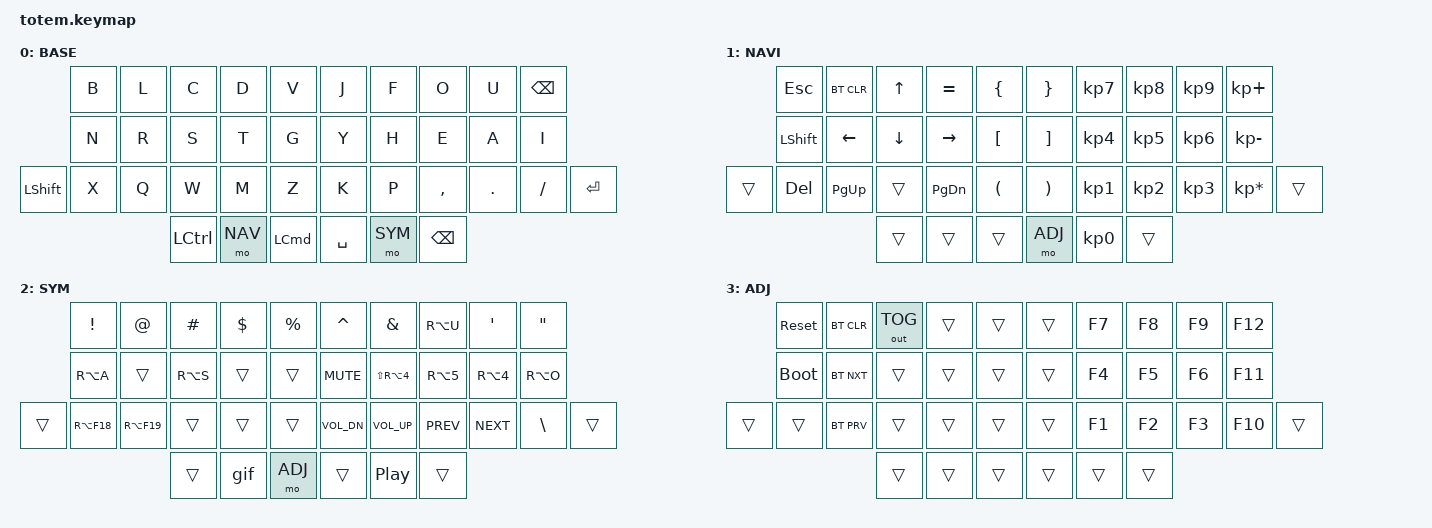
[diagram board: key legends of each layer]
#include <behaviors.dtsi>
#include <dt-bindings/zmk/keys.h>
#include <dt-bindings/zmk/bt.h>
#include <dt-bindings/zmk/outputs.h>

#define BASE 0
#define NAV  1
#define SYM  2
#define ADJ  3

&mt {
  quick-tap-ms = <100>;
  global-quick-tap;
  flavor = "tap-preferred";
  tapping-term-ms = <170>;
};

/ {
    combos {
            compatible = "zmk,combos";
            combo_esc {
                timeout-ms = <50>;
                key-positions = <0 1>;
                bindings = <&kp ESC>;
            };
    };

    macros {
        gif: gif {
            label = "giphy";
            compatible = "zmk,behavior-macro";
            #binding-cells = <0>;
            bindings
                = <&macro_press &kp LSHFT>
                , <&macro_tap &kp N2>
                , <&macro_release &kp LSHFT>
                , <&macro_tap &kp G &kp I &kp F>
                ;
        };
    };

        keymap {
                compatible = "zmk,keymap";
// ▄▄▄▄▄▄▄▄▄▄▄▄▄▄▄▄▄▄▄▄▄▄▄▄▄▄▄▄▄▄▄▄▄▄▄▄▄▄▄▄▄▄▄▄▄▄▄▄▄▄▄▄▄▄▄▄▄▄▄▄▄▄▄▄▄▄▄▄▄▄▄▄▄▄▄▄▄▄▄▄▄▄▄▄▄▄▄▄▄▄▄▄▄▄▄▄▄▄▄▄▄▄▄▄▄▄▄▄▄▄▄▄▄▄▄▄▄▄▄▄▄▄▄▄▄▄▄▄▄▄▄▄▄▄▄▄▄▄▄▄▄▄▄▄▄▄▄▄▄


                base_layer {
// ┏━━━━━━━━━━━━━━━━━━━━━━━━━━━━━━━━━━━━━━━┓
label= "BASE"                              ;
// ┗━━━━━━━━━━━━━━━━━━━━━━━━━━━━━━━━━━━━━━━┛
//             ┏━━━━━━━━━━━┳━━━━━━━━━━━┳━━━━━━━━━━━┳━━━━━━━━━━━┳━━━━━━━━━━━┓   ┏━━━━━━━━━━━┳━━━━━━━━━━━┳━━━━━━━━━━━┳━━━━━━━━━━━┳━━━━━━━━━━━┓
//             ┃     B     ┃     L     ┃     C     ┃     D     ┃     V     ┃   ┃     J     ┃     F     ┃     O     ┃     U     ┃    BSPC   ┃
//             ┣━━━━━━━━━━━╋━━━━━━━━━━━╋━━━━━━━━━━━╋━━━━━━━━━━━╋━━━━━━━━━━━┫   ┣━━━━━━━━━━━╋━━━━━━━━━━━╋━━━━━━━━━━━╋━━━━━━━━━━━╋━━━━━━━━━━━┫
//             ┃     N     ┃     R     ┃     S     ┃     T     ┃     G     ┃   ┃     Y     ┃     H     ┃     E     ┃     A     ┃     I     ┃
// ┏━━━━━━━━━━━╋━━━━━━━━━━━╋━━━━━━━━━━━╋━━━━━━━━━━━╋━━━━━━━━━━━╋━━━━━━━━━━━┫   ┣━━━━━━━━━━━╋━━━━━━━━━━━╋━━━━━━━━━━━╋━━━━━━━━━━━╋━━━━━━━━━━━╋━━━━━━━━━━━┓
// ┃   SHIFT   ┃     X     ┃     Q     ┃     W     ┃     M     ┃     Z     ┃   ┃     K     ┃     P     ┃     ,     ┃     .     ┃     /     ┃    RET    ┃
// ┗━━━━━━━━━━━┻━━━━━━━━━━━┻━━━━━━━━━━━╋━━━━━━━━━━━╋━━━━━━━━━━━╋━━━━━━━━━━━┫   ┣━━━━━━━━━━━╋━━━━━━━━━━━╋━━━━━━━━━━━╋━━━━━━━━━━━┻━━━━━━━━━━━┻━━━━━━━━━━━┛
//                                     ┃    CTRL   ┃    NAV    ┃    CMD    ┃   ┃   SPACE   ┃    SYM    ┃   BSPC    ┃
//                                     ┗━━━━━━━━━━━┻━━━━━━━━━━━┻━━━━━━━━━━━┛   ┗━━━━━━━━━━━┻━━━━━━━━━━━┻━━━━━━━━━━━┛
 bindings = <
// ╷           ╷           ╷           ╷           ╷           ╷           ╷   ╷           ╷           ╷           ╷           ╷           ╷           ╷

                &kp B       &kp L       &kp C       &kp D       &kp V           &kp J       &kp F       &kp O       &kp U       &kp BSPC
                &kp N       &kp R       &kp S       &kp T       &kp G           &kp Y       &kp H       &kp E       &kp A       &kp I 
    &kp LSHFT   &kp X       &kp Q       &kp W       &kp M       &kp Z           &kp K       &kp P       &kp COMMA   &kp DOT     &kp FSLH     &kp RET
                                        &kp LCTRL   &mo NAV     &kp LCMD      &kp SPACE     &mo SYM     &kp BSPC
                        >;
                };

// ▄▄▄▄▄▄▄▄▄▄▄▄▄▄▄▄▄▄▄▄▄▄▄▄▄▄▄▄▄▄▄▄▄▄▄▄▄▄▄▄▄▄▄▄▄▄▄▄▄▄▄▄▄▄▄▄▄▄▄▄▄▄▄▄▄▄▄▄▄▄▄▄▄▄▄▄▄▄▄▄▄▄▄▄▄▄▄▄▄▄▄▄▄▄▄▄▄▄▄▄▄▄▄▄▄▄▄▄▄▄▄▄▄▄▄▄▄▄▄▄▄▄▄▄▄▄▄▄▄▄▄▄▄▄▄▄▄▄▄▄▄▄▄▄▄▄▄▄▄


                nav_layer {
// ┏━━━━━━━━━━━━━━━━━━━━━━━━━━━━━━━━━━━━━━━┓
label= "NAVI"                              ;
// ┗━━━━━━━━━━━━━━━━━━━━━━━━━━━━━━━━━━━━━━━┛
//             ┏━━━━━━━━━━━┳━━━━━━━━━━━┳━━━━━━━━━━━┳━━━━━━━━━━━┳━━━━━━━━━━━┓   ┏━━━━━━━━━━━┳━━━━━━━━━━━┳━━━━━━━━━━━┳━━━━━━━━━━━┳━━━━━━━━━━━┓
//             ┃           ┃           ┃     UP    ┃           ┃     {     ┃   ┃     }     ┃     7     ┃     8     ┃     9     ┃     +     ┃
//             ┣━━━━━━━━━━━╋━━━━━━━━━━━╋━━━━━━━━━━━╋━━━━━━━━━━━╋━━━━━━━━━━━┫   ┣━━━━━━━━━━━╋━━━━━━━━━━━╋━━━━━━━━━━━╋━━━━━━━━━━━╋━━━━━━━━━━━┫
//             ┃           ┃   LEFT    ┃    DOWN   ┃   RIGHT   ┃     [     ┃   ┃     ]     ┃     4     ┃     5     ┃     6     ┃     -     ┃
// ┏━━━━━━━━━━━╋━━━━━━━━━━━╋━━━━━━━━━━━╋━━━━━━━━━━━╋━━━━━━━━━━━╋━━━━━━━━━━━┫   ┣━━━━━━━━━━━╋━━━━━━━━━━━╋━━━━━━━━━━━╋━━━━━━━━━━━╋━━━━━━━━━━━╋━━━━━━━━━━━┓
// ┃   SHIFT   ┃           ┃   PG UP   ┃           ┃  PG DOWN  ┃     (     ┃   ┃     )     ┃     1     ┃     2     ┃     3     ┃     *     ┃           ┃
// ┗━━━━━━━━━━━┻━━━━━━━━━━━┻━━━━━━━━━━━╋━━━━━━━━━━━╋━━━━━━━━━━━╋━━━━━━━━━━━┫   ┣━━━━━━━━━━━╋━━━━━━━━━━━╋━━━━━━━━━━━╋━━━━━━━━━━━┻━━━━━━━━━━━┻━━━━━━━━━━━┛
//                                     ┃           ┃           ┃           ┃   ┃    ADJ    ┃     0     ┃           ┃
//                                     ┗━━━━━━━━━━━┻━━━━━━━━━━━┻━━━━━━━━━━━┛   ┗━━━━━━━━━━━┻━━━━━━━━━━━┻━━━━━━━━━━━┛
 bindings = <
// ╷           ╷           ╷           ╷           ╷           ╷           ╷   ╷           ╷           ╷           ╷           ╷           ╷           ╷

                &kp ESC     &bt BT_CLR  &kp UP      &kp EQUAL   &kp LBRC        &kp RBRC    &kp KP_N7   &kp KP_N8   &kp KP_N9   &kp KP_PLUS
                &kp LSHFT   &kp LEFT    &kp DOWN    &kp RIGHT   &kp LBKT        &kp RBKT    &kp KP_N4   &kp KP_N5   &kp KP_N6   &kp KP_MINUS
    &trans      &kp DEL     &kp PG_UP   &trans      &kp PG_DN   &kp LPAR        &kp RPAR    &kp KP_N1   &kp KP_N2   &kp KP_N3   &kp KP_MULTIPLY &trans      
                                        &trans      &trans      &trans          &mo ADJ     &kp KP_N0   &trans      
                        >;
                };

// ▄▄▄▄▄▄▄▄▄▄▄▄▄▄▄▄▄▄▄▄▄▄▄▄▄▄▄▄▄▄▄▄▄▄▄▄▄▄▄▄▄▄▄▄▄▄▄▄▄▄▄▄▄▄▄▄▄▄▄▄▄▄▄▄▄▄▄▄▄▄▄▄▄▄▄▄▄▄▄▄▄▄▄▄▄▄▄▄▄▄▄▄▄▄▄▄▄▄▄▄▄▄▄▄▄▄▄▄▄▄▄▄▄▄▄▄▄▄▄▄▄▄▄▄▄▄▄▄▄▄▄▄▄▄▄▄▄▄▄▄▄▄▄▄▄▄▄▄▄


                sim_layer {
// ┏━━━━━━━━━━━━━━━━━━━━━━━━━━━━━━━━━━━━━━━┓
label= "SYM"                               ;
// ┗━━━━━━━━━━━━━━━━━━━━━━━━━━━━━━━━━━━━━━━┛
//             ┏━━━━━━━━━━━┳━━━━━━━━━━━┳━━━━━━━━━━━┳━━━━━━━━━━━┳━━━━━━━━━━━┓   ┏━━━━━━━━━━━┳━━━━━━━━━━━┳━━━━━━━━━━━┳━━━━━━━━━━━┳━━━━━━━━━━━┓
//             ┃     !     ┃     @     ┃     #     ┃     $     ┃     %     ┃   ┃     ˆ     ┃     &     ┃     Ü     ┃     '     ┃     "     ┃
//             ┣━━━━━━━━━━━╋━━━━━━━━━━━╋━━━━━━━━━━━╋━━━━━━━━━━━╋━━━━━━━━━━━┫   ┣━━━━━━━━━━━╋━━━━━━━━━━━╋━━━━━━━━━━━╋━━━━━━━━━━━╋━━━━━━━━━━━┫
//             ┃     Ä     ┃           ┃    SZ     ┃           ┃           ┃   ┃   MUTE    ┃   YEN     ┃   EURO    ┃  POUND    ┃     Ö     ┃
// ┏━━━━━━━━━━━╋━━━━━━━━━━━╋━━━━━━━━━━━╋━━━━━━━━━━━╋━━━━━━━━━━━╋━━━━━━━━━━━┫   ┣━━━━━━━━━━━╋━━━━━━━━━━━╋━━━━━━━━━━━╋━━━━━━━━━━━╋━━━━━━━━━━━╋━━━━━━━━━━━┓
// ┃           ┃  EMAIL1   ┃  EMAIL2   ┃           ┃           ┃           ┃   ┃   VOL-    ┃   VOL+    ┃   LAST    ┃   NEXT    ┃     \     ┃           ┃
// ┗━━━━━━━━━━━┻━━━━━━━━━━━┻━━━━━━━━━━━╋━━━━━━━━━━━╋━━━━━━━━━━━╋━━━━━━━━━━━┫   ┣━━━━━━━━━━━╋━━━━━━━━━━━╋━━━━━━━━━━━╋━━━━━━━━━━━┻━━━━━━━━━━━┻━━━━━━━━━━━┛
//                                     ┃           ┃    GIF    ┃    ADJ    ┃   ┃           ┃           ┃           ┃
//                                     ┗━━━━━━━━━━━┻━━━━━━━━━━━┻━━━━━━━━━━━┛   ┗━━━━━━━━━━━┻━━━━━━━━━━━┻━━━━━━━━━━━┛
 bindings = <
// ╷           ╷           ╷           ╷           ╷           ╷           ╷   ╷           ╷           ╷           ╷           ╷           ╷           ╷

                &kp EXCL    &kp AT      &kp HASH    &kp DLLR    &kp PRCNT       &kp CARET   &kp AMPS    &kp RA(U)   &kp SQT     &kp DQT       
                &kp RA(A)   &trans      &kp RA(S)   &trans      &trans          &kp C_MUTE  &kp LS(RA(N4)) &kp RA(N5) &kp RA(N4)   &kp RA(O) 
    &trans      &kp RA(F18) &kp RA(F19) &trans      &trans      &trans          &kp C_VOL_DN &kp C_VOL_UP &kp C_PREV &kp C_NEXT  &kp BSLH   &trans         
                                        &trans      &gif        &mo ADJ         &trans      &kp C_PP    &trans      
                        >;
                };

// ▄▄▄▄▄▄▄▄▄▄▄▄▄▄▄▄▄▄▄▄▄▄▄▄▄▄▄▄▄▄▄▄▄▄▄▄▄▄▄▄▄▄▄▄▄▄▄▄▄▄▄▄▄▄▄▄▄▄▄▄▄▄▄▄▄▄▄▄▄▄▄▄▄▄▄▄▄▄▄▄▄▄▄▄▄▄▄▄▄▄▄▄▄▄▄▄▄▄▄▄▄▄▄▄▄▄▄▄▄▄▄▄▄▄▄▄▄▄▄▄▄▄▄▄▄▄▄▄▄▄▄▄▄▄▄▄▄▄▄▄▄▄▄▄▄▄▄▄▄


                adjust_layer {
// ┏━━━━━━━━━━━━━━━━━━━━━━━━━━━━━━━━━━━━━━━┓
label= "ADJ"                               ;
// ┗━━━━━━━━━━━━━━━━━━━━━━━━━━━━━━━━━━━━━━━┛
//             ┏━━━━━━━━━━━┳━━━━━━━━━━━┳━━━━━━━━━━━┳━━━━━━━━━━━┳━━━━━━━━━━━┓   ┏━━━━━━━━━━━┳━━━━━━━━━━━┳━━━━━━━━━━━┳━━━━━━━━━━━┳━━━━━━━━━━━┓
//             ┃   RESET   ┃ BT CLEAR  ┃  OUT TOG  ┃           ┃           ┃   ┃           ┃    F7     ┃    F8     ┃    F9     ┃    F12    ┃
//             ┣━━━━━━━━━━━╋━━━━━━━━━━━╋━━━━━━━━━━━╋━━━━━━━━━━━╋━━━━━━━━━━━┫   ┣━━━━━━━━━━━╋━━━━━━━━━━━╋━━━━━━━━━━━╋━━━━━━━━━━━╋━━━━━━━━━━━┫
//             ┃ BOOTLOAD  ┃ BT NEXT   ┃           ┃           ┃           ┃   ┃           ┃    F4     ┃    F5     ┃    F6     ┃    F11    ┃
// ┏━━━━━━━━━━━╋━━━━━━━━━━━╋━━━━━━━━━━━╋━━━━━━━━━━━╋━━━━━━━━━━━╋━━━━━━━━━━━┫   ┣━━━━━━━━━━━╋━━━━━━━━━━━╋━━━━━━━━━━━╋━━━━━━━━━━━╋━━━━━━━━━━━╋━━━━━━━━━━━┓
// ┃           ┃           ┃ BT PREV   ┃           ┃           ┃           ┃   ┃           ┃    F1     ┃    F2     ┃    F3     ┃    F10    ┃           ┃
// ┗━━━━━━━━━━━┻━━━━━━━━━━━┻━━━━━━━━━━━╋━━━━━━━━━━━╋━━━━━━━━━━━╋━━━━━━━━━━━┫   ┣━━━━━━━━━━━╋━━━━━━━━━━━╋━━━━━━━━━━━╋━━━━━━━━━━━┻━━━━━━━━━━━┻━━━━━━━━━━━┛
//                                     ┃           ┃           ┃           ┃   ┃           ┃           ┃           ┃
//                                     ┗━━━━━━━━━━━┻━━━━━━━━━━━┻━━━━━━━━━━━┛   ┗━━━━━━━━━━━┻━━━━━━━━━━━┻━━━━━━━━━━━┛
 bindings = <
// ╷           ╷           ╷           ╷           ╷           ╷           ╷   ╷           ╷           ╷           ╷           ╷           ╷           ╷

                &sys_reset  &bt BT_CLR &out OUT_TOG &trans      &trans          &trans      &kp F7      &kp F8      &kp F9      &kp F12
                &bootloader &bt BT_NXT  &trans      &trans      &trans          &trans      &kp F4      &kp F5      &kp F6      &kp F11  
    &trans      &trans      &bt BT_PRV  &trans      &trans      &trans          &trans      &kp F1      &kp F2      &kp F3      &kp F10     &trans         
                                        &trans      &trans      &trans          &trans      &trans      &trans      
                        >;
                };
        };
};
